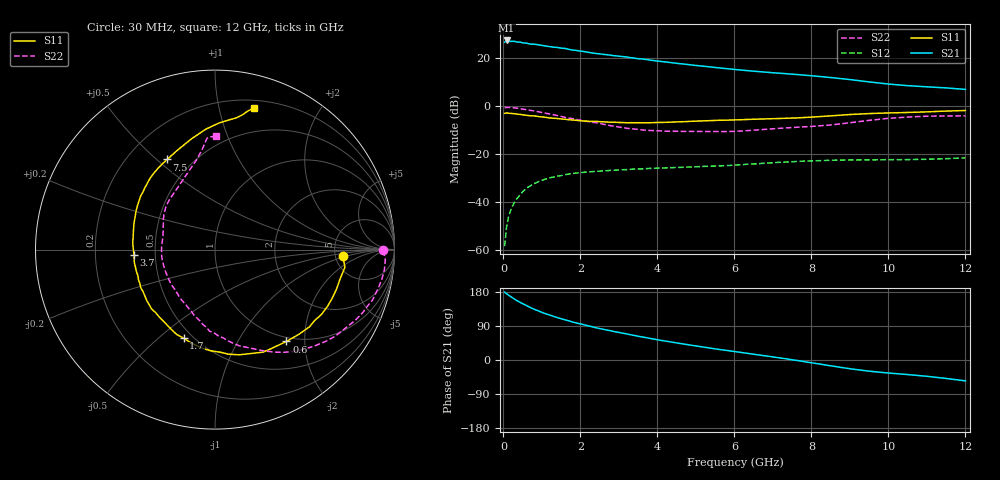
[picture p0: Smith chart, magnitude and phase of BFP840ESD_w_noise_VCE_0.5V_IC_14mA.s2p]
! Infineon Technologies  Discrete & RF Semiconductors
! BFP840ESD
! VCE =  0.5 V,  IC =  14 mA
! Common Emitter S-Parameters:  May 2012
# GHz  S  MA  R  50
!  f  S11  S21  S12  S22
! GHz  MAG  ANG  MAG  ANG  MAG  ANG  MAG  ANG
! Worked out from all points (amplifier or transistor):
!   93 points, 30 MHz to 12 GHz, reference 50 ohm
!   highest |S21| = 27.5 dB at 80 MHz (marker M1)
!   |S21| within 3 dB of that: start of sweep to 1.428 GHz
!   unconditionally stable (mu >= 1): start of sweep to 30.37 MHz; 4.671 GHz to 11.2 GHz
!   at 1.1 GHz: K = 0.30, MSG = 27.8 dB, |S12| = -30.4 dB
!   at 4.2 GHz: K = 0.94, MSG = 22.1 dB, |S12| = -25.7 dB
!   at 12 GHz: K = 0.89, MSG = 14.3 dB, |S12| = -21.5 dB
!   lowest NFmin = 0.96 dB at 450 MHz
!   S11 on the Smith chart (normalised r, x): 30 MHz: 5.85, -0.89; 600 MHz: 0.93, -1.64; 1.7 GHz: 0.45, -0.61; 3.7 GHz: 0.38, -0.03; 7.5 GHz: 0.36, +0.54; 12 GHz: 0.27, +1.28
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0.03  0.7137 -3.0  21.78 179.0  0.0012 98.6  0.938 -0.3
0.08  0.7305 -7.8  23.75 175.0  0.003 88.3  0.9509 -3.6
0.13  0.7159 -13.1  22.6 171.4  0.0048 84.7  0.9504 -6.8
0.28  0.7021 -26.8  22.76 161.3  0.0097 76.1  0.9283 -15.2
0.33  0.6944 -31.4  22.3 157.7  0.0113 74.6  0.921 -17.9
0.43  0.68 -39.2  22.04 152.2  0.014 71.1  0.8957 -22.9
0.6  0.6484 -52.1  20.86 143.7  0.0195 65.1  0.8476 -31.2
0.7  0.6347 -59.8  19.91 138.3  0.0219 63.0  0.8254 -35.8
0.8  0.6311 -64.8  19.83 133.8  0.0243 60.2  0.7996 -39.9
1  0.6017 -76.9  18.71 125.6  0.0285 54.7  0.7445 -48.2
1.4  0.5565 -96.3  16.97 111.9  0.0348 45.4  0.6404 -62.3
1.7  0.5237 -109.5  15.5 103.3  0.0386 40.0  0.5682 -72.8
2.1  0.4921 -125.4  13.9 92.7  0.0421 34.5  0.4934 -84.8
2.9  0.465 -152.8  11.37 74.4  0.0463 27.2  0.3826 -108.0
3.7  0.4528 -176.4  9.512 59.1  0.05 21.7  0.3165 -134.2
4.1  0.4607 172.3  8.636 51.7  0.0514 19.7  0.3064 -146.8
5  0.4908 153.3  7.135 37.1  0.0547 15.9  0.2993 -172.5
6.1  0.5229 137.5  5.799 21.0  0.0599 12.9  0.3033 162.8
7.5  0.5691 118.1  4.691 0.6  0.0697 5.4  0.3611 139.4
8.5  0.6323 101.7  3.997 -15.3  0.0746 -2.1  0.4074 119.7
10.5  0.7443 80.7  2.702 -38.4  0.0772 -14.0  0.5968 95.4
12  0.8173 74.6  2.259 -55.1  0.0838 -19.6  0.6327 89.4
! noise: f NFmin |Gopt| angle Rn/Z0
0.45  0.96  0.19  1  0.13
0.9  0.97  0.19  4  0.13
1.5  0.97  0.2  8  0.12
1.9  0.98  0.17  12  0.12
2.4  0.99  0.14  19  0.12
3.5  1  0.05  63  0.1
5.5  1.03  0.07  -165  0.1
8  1.14  0.29  -116  0.12
10  1.26  0.49  -83  0.22
12  1.48  0.62  -68  0.31
